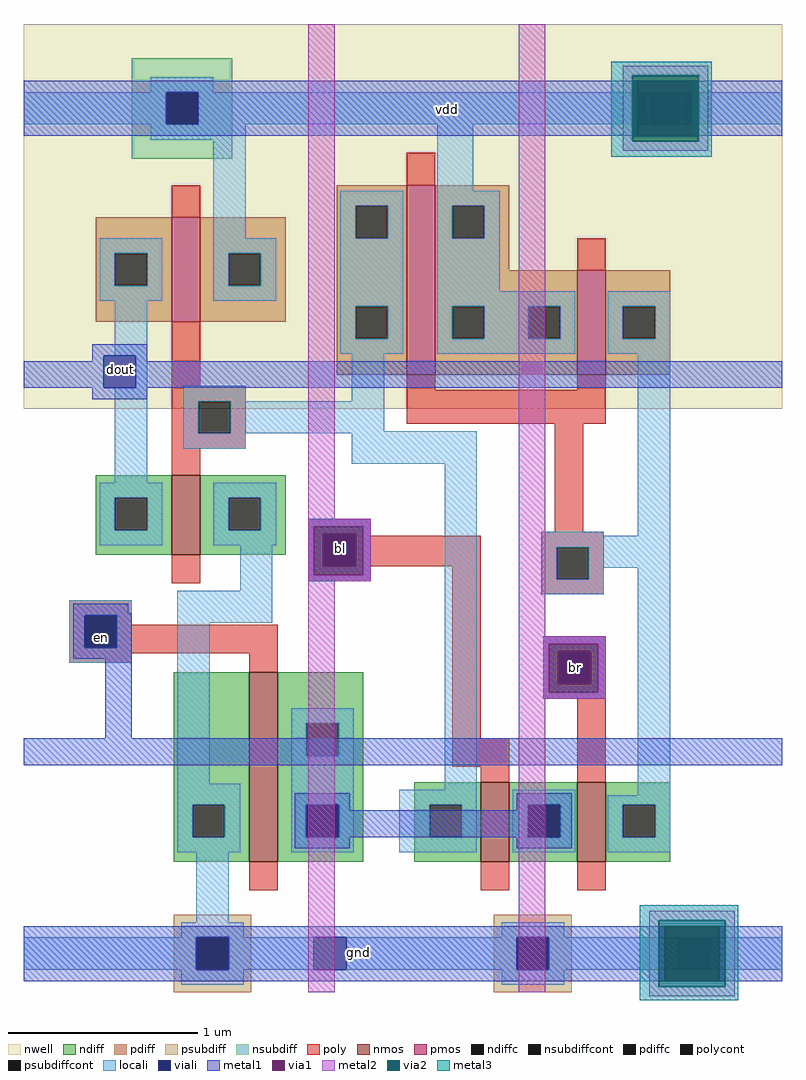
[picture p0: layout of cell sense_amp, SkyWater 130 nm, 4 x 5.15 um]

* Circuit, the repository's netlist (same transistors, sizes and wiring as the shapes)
* NGSPICE file created from sense_amp.ext - technology: sky130A

.subckt sense_amp bl br dout en vdd gnd
X0 a_47_208# bl a_8_72# gnd sky130_fd_pr__nfet_01v8 ad=1.428e+11p pd=1.52e+06u as=6.012e+11p ps=4.46e+06u w=420000u l=150000u
X1 a_47_208# a_152_291# vdd vdd sky130_fd_pr__pfet_01v8 ad=3.7e+11p pd=2.74e+06u as=8.355e+11p ps=5.5e+06u w=1e+06u l=150000u
X2 vdd a_152_291# a_152_291# vdd sky130_fd_pr__pfet_01v8 ad=0p pd=0u as=1.87e+11p ps=1.78e+06u w=550000u l=150000u
X3 vdd a_47_208# dout vdd sky130_fd_pr__pfet_01v8 ad=0p pd=0u as=2.2e+11p ps=1.9e+06u w=550000u l=150000u
X4 gnd a_47_208# dout gnd sky130_fd_pr__nfet_01v8 ad=5.89e+11p pd=4.54e+06u as=1.68e+11p ps=1.64e+06u w=420000u l=150000u
X5 gnd en a_8_72# gnd sky130_fd_pr__nfet_01v8 ad=0p pd=0u as=0p ps=0u w=1e+06u l=150000u
X6 a_8_72# br a_152_291# gnd sky130_fd_pr__nfet_01v8 ad=0p pd=0u as=1.47e+11p ps=1.54e+06u w=420000u l=150000u
.ends

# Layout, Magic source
magic
tech sky130A
<< nwell >>
rect 0 287 400 490
<< nmos >>
rect 78 210 93 252
rect 119 48 134 148
rect 241 48 256 90
rect 292 48 307 90
<< pmos >>
rect 78 333 93 388
rect 202 305 217 405
rect 292 305 307 360
<< ndiff >>
rect 38 240 78 252
rect 38 223 48 240
rect 65 223 78 240
rect 38 210 78 223
rect 93 240 138 252
rect 93 223 108 240
rect 125 223 138 240
rect 93 210 138 223
rect 79 78 119 148
rect 79 61 89 78
rect 106 61 119 78
rect 79 48 119 61
rect 134 121 179 148
rect 134 104 149 121
rect 166 104 179 121
rect 134 78 179 104
rect 134 61 149 78
rect 166 61 179 78
rect 134 48 179 61
rect 206 78 241 90
rect 206 61 214 78
rect 231 61 241 78
rect 206 48 241 61
rect 256 78 292 90
rect 256 61 266 78
rect 283 61 292 78
rect 256 48 292 61
rect 307 78 341 90
rect 307 61 316 78
rect 333 61 341 78
rect 307 48 341 61
<< pdiff >>
rect 165 394 202 405
rect 38 369 78 388
rect 38 352 48 369
rect 65 352 78 369
rect 38 333 78 352
rect 93 369 138 388
rect 93 352 108 369
rect 125 352 138 369
rect 93 333 138 352
rect 165 377 175 394
rect 192 377 202 394
rect 165 341 202 377
rect 165 324 175 341
rect 192 324 202 341
rect 165 305 202 324
rect 217 394 256 405
rect 217 377 226 394
rect 243 377 256 394
rect 217 360 256 377
rect 217 341 292 360
rect 217 324 226 341
rect 243 324 266 341
rect 283 324 292 341
rect 217 305 292 324
rect 307 341 341 360
rect 307 324 316 341
rect 333 324 341 341
rect 307 305 341 324
<< ndiffc >>
rect 48 223 65 240
rect 108 223 125 240
rect 89 61 106 78
rect 149 104 166 121
rect 149 61 166 78
rect 214 61 231 78
rect 266 61 283 78
rect 316 61 333 78
<< pdiffc >>
rect 48 352 65 369
rect 108 352 125 369
rect 175 377 192 394
rect 175 324 192 341
rect 226 377 243 394
rect 226 324 243 341
rect 266 324 283 341
rect 316 324 333 341
<< psubdiff >>
rect 79 8 120 20
rect 79 -9 91 8
rect 108 -9 120 8
rect 79 -21 120 -9
rect 248 8 289 20
rect 248 -9 260 8
rect 277 -9 289 8
rect 248 -21 289 -9
<< nsubdiff >>
rect 57 454 110 472
rect 57 437 75 454
rect 92 437 110 454
rect 57 419 110 437
<< psubdiffcont >>
rect 91 -9 108 8
rect 260 -9 277 8
<< nsubdiffcont >>
rect 75 437 92 454
<< poly >>
rect 202 405 217 422
rect 78 388 93 405
rect 78 299 93 333
rect 292 360 307 377
rect 78 291 117 299
rect 78 274 92 291
rect 109 274 117 291
rect 202 297 217 305
rect 292 297 307 305
rect 202 279 307 297
rect 78 266 117 274
rect 78 252 93 266
rect 150 221 183 229
rect 280 222 295 279
rect 78 195 93 210
rect 150 204 158 221
rect 175 220 183 221
rect 175 204 241 220
rect 150 196 183 204
rect 24 178 57 186
rect 24 161 32 178
rect 49 173 57 178
rect 49 161 134 173
rect 24 158 134 161
rect 24 153 57 158
rect 119 148 134 158
rect 226 113 241 204
rect 273 214 306 222
rect 273 197 281 214
rect 298 197 306 214
rect 273 189 306 197
rect 274 159 307 167
rect 274 142 282 159
rect 299 142 307 159
rect 274 134 307 142
rect 226 98 256 113
rect 241 90 256 98
rect 292 90 307 134
rect 119 33 134 48
rect 241 33 256 48
rect 292 33 307 48
<< polycont >>
rect 92 274 109 291
rect 158 204 175 221
rect 32 161 49 178
rect 281 197 298 214
rect 282 142 299 159
<< locali >>
rect 67 454 100 462
rect 0 437 75 454
rect 92 437 330 454
rect 347 437 400 454
rect 67 429 117 437
rect 100 377 117 429
rect 218 402 237 437
rect 167 394 200 402
rect 167 377 175 394
rect 192 377 200 394
rect 40 369 73 377
rect 40 352 48 369
rect 65 352 73 369
rect 40 344 73 352
rect 100 369 133 377
rect 100 352 108 369
rect 125 352 133 369
rect 100 344 133 352
rect 48 315 65 344
rect 167 341 200 377
rect 167 324 175 341
rect 192 324 200 341
rect 167 316 200 324
rect 218 394 251 402
rect 218 377 226 394
rect 243 377 251 394
rect 218 349 251 377
rect 218 341 291 349
rect 218 324 226 341
rect 243 324 266 341
rect 283 324 291 341
rect 218 316 291 324
rect 308 341 341 349
rect 308 324 316 341
rect 333 324 341 341
rect 308 316 341 324
rect 59 298 65 315
rect 48 248 65 298
rect 84 291 117 299
rect 173 291 190 316
rect 84 274 92 291
rect 109 275 190 291
rect 109 274 239 275
rect 84 266 117 274
rect 173 258 239 274
rect 40 240 73 248
rect 40 223 48 240
rect 65 223 73 240
rect 40 215 73 223
rect 100 240 133 248
rect 100 223 108 240
rect 125 223 133 240
rect 100 215 133 223
rect 150 221 183 229
rect 114 191 131 215
rect 150 204 158 221
rect 175 204 183 221
rect 150 196 183 204
rect 24 178 57 186
rect 24 161 32 178
rect 49 161 57 178
rect 24 153 57 161
rect 81 174 131 191
rect 81 89 98 174
rect 141 121 174 129
rect 141 104 149 121
rect 166 104 174 121
rect 81 78 114 89
rect 81 61 89 78
rect 106 61 114 78
rect 81 53 114 61
rect 141 78 174 104
rect 222 86 239 258
rect 273 220 306 222
rect 324 220 341 316
rect 273 214 341 220
rect 273 197 281 214
rect 298 203 341 214
rect 298 197 306 203
rect 273 189 306 197
rect 274 159 307 167
rect 274 142 282 159
rect 299 142 307 159
rect 274 134 307 142
rect 141 61 149 78
rect 166 61 174 78
rect 141 53 174 61
rect 198 78 239 86
rect 198 61 214 78
rect 231 61 239 78
rect 198 53 239 61
rect 258 78 291 86
rect 324 83 341 203
rect 258 61 266 78
rect 283 61 291 78
rect 258 53 291 61
rect 308 78 341 83
rect 308 61 316 78
rect 333 61 341 78
rect 308 53 341 61
rect 91 16 108 53
rect 83 8 116 16
rect 252 8 285 16
rect 0 -9 91 8
rect 108 -9 153 8
rect 170 -9 260 8
rect 277 -9 345 8
rect 362 -9 400 8
rect 83 -17 116 -9
rect 252 -17 285 -9
<< viali >>
rect 75 437 92 454
rect 330 437 347 454
rect 42 298 59 315
rect 158 204 175 221
rect 32 161 49 178
rect 282 142 299 159
rect 149 61 166 78
rect 266 61 283 78
rect 91 -9 108 8
rect 153 -9 170 8
rect 260 -9 277 8
rect 345 -9 362 8
<< metal1 >>
rect 0 454 324 460
rect 0 437 75 454
rect 92 437 324 454
rect 0 431 324 437
rect 353 431 400 460
rect 36 315 65 321
rect 36 312 42 315
rect 0 298 42 312
rect 59 312 65 315
rect 59 298 400 312
rect 36 292 65 298
rect 150 225 183 229
rect 150 199 153 225
rect 179 199 183 225
rect 150 196 183 199
rect 26 179 55 184
rect 26 178 57 179
rect 26 161 32 178
rect 49 161 57 178
rect 26 155 57 161
rect 43 113 57 155
rect 274 163 307 167
rect 274 137 277 163
rect 303 137 307 163
rect 274 134 307 137
rect 0 99 400 113
rect 143 78 172 84
rect 143 61 149 78
rect 166 75 172 78
rect 260 78 289 84
rect 260 75 266 78
rect 166 61 266 75
rect 283 61 289 78
rect 143 55 172 61
rect 260 55 289 61
rect 0 8 338 14
rect 0 -9 91 8
rect 108 -9 153 8
rect 170 -9 260 8
rect 277 -9 338 8
rect 0 -15 338 -9
rect 367 -15 400 14
<< via1 >>
rect 324 454 353 460
rect 324 437 330 454
rect 330 437 347 454
rect 347 437 353 454
rect 324 431 353 437
rect 153 221 179 225
rect 153 204 158 221
rect 158 204 175 221
rect 175 204 179 221
rect 153 199 179 204
rect 277 159 303 163
rect 277 142 282 159
rect 282 142 299 159
rect 299 142 303 159
rect 277 137 303 142
rect 338 8 367 14
rect 338 -9 345 8
rect 345 -9 362 8
rect 362 -9 367 8
rect 338 -15 367 -9
<< metal2 >>
rect 150 229 164 490
rect 150 225 183 229
rect 150 199 153 225
rect 179 199 183 225
rect 150 196 183 199
rect 150 -21 164 196
rect 261 167 275 490
rect 316 463 361 468
rect 316 428 321 463
rect 356 428 361 463
rect 316 423 361 428
rect 261 163 307 167
rect 261 137 277 163
rect 303 137 307 163
rect 261 134 307 137
rect 261 -21 275 134
rect 330 17 375 22
rect 330 -18 335 17
rect 370 -18 375 17
rect 330 -23 375 -18
<< via2 >>
rect 321 460 356 463
rect 321 431 324 460
rect 324 431 353 460
rect 353 431 356 460
rect 321 428 356 431
rect 335 14 370 17
rect 335 -15 338 14
rect 338 -15 367 14
rect 367 -15 370 14
rect 335 -18 370 -15
<< metal3 >>
rect 310 463 363 470
rect 310 428 321 463
rect 356 428 363 463
rect 310 420 363 428
rect 325 17 377 25
rect 325 -18 335 17
rect 370 -18 377 17
rect 325 -25 377 -18
<< labels >>
flabel metal1 s 44 301 58 314 0 FreeSans 200 180 0 0 dout
port 17 nsew
flabel metal1 s 170 -5 183 5 0 FreeSans 200 180 0 0 gnd
port 20 nsew
flabel metal2 s 285 144 297 157 0 FreeSans 200 180 0 0 br
port 16 nsew
flabel metal1 s 34 160 48 173 0 FreeSans 200 180 0 0 en
port 18 nsew
flabel metal1 s 217 440 230 450 0 FreeSans 200 180 0 0 vdd
port 19 nsew
flabel metal2 s 161 207 173 219 0 FreeSans 200 180 0 0 bl
port 15 nsew
<< properties >>
string FIXED_BBOX 0 0 400 445
<< end >>
